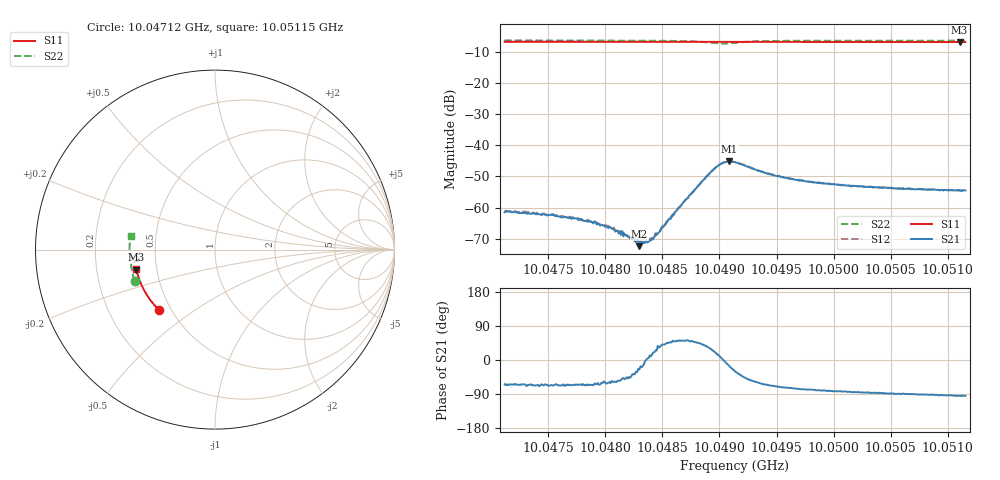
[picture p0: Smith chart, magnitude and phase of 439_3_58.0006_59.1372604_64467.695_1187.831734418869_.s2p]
#  HZ  S  RI  R  50.00
! Rohde & Schwarz Vector Network Analyzer
! Rohde-Schwarz,ZNB20-2Port,1311601062101988,3.16
! Created: UTC 3/21/2024, 1:09:59 AM
! freq[Hz]  re:S11  im:S11  re:S21  im:S21  re:S12  im:S12  re:S22  im:S22
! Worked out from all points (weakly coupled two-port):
!   401 points, 10.04712 GHz to 10.05115 GHz, reference 50 ohm
!   highest |S21| = -45.22 dB at 10.04909 GHz (marker M1); lowest = -72.4 dB at 10.0483 GHz (marker M2)
!   lowest |S11| = -6.9 dB at 10.0511 GHz (marker M3), VSWR 2.65, Z = 19.1 - j5.38 ohm
!   |S11| at or under -10 dB: nowhere
!   |S22| runs from -7.4 to -6.4 dB; largest |S21 - S12| = 0.0004
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1.0047118e10  -0.3115 -0.3374  0.00037 -0.000752  0.000434 -0.000788  -0.4473 -0.1728
1.0047551e10  -0.3315 -0.3166  0.000299 -0.000682  0.000364 -0.000667  -0.4564 -0.1446
1.0047794e10  -0.3419 -0.3045  0.00026 -0.000593  0.000298 -0.000546  -0.4606 -0.1283
1.0047834e10  -0.3435 -0.3024  0.000238 -0.000562  0.000294 -0.00055  -0.4612 -0.1255
1.0048036e10  -0.3518 -0.292  0.000255 -0.000418  0.00027 -0.000403  -0.464 -0.1111
1.0048167e10  -0.357 -0.2853  0.000241 -0.000294  0.000261 -0.000271  -0.4658 -0.1015
1.0048268e10  -0.3611 -0.2798  0.000237 -0.000143  0.000276 -0.000141  -0.4665 -0.0939
1.0048278e10  -0.3616 -0.2794  0.000262 -0.000162  0.000256 -0.000142  -0.4666 -0.0932
1.0048298e10  -0.3621 -0.2783  0.000218 -0.000101  0.000282 -8.53e-05  -0.4667 -0.0915
1.0048328e10  -0.3635 -0.2767  0.000275 -7.79e-05  0.000278 -3.71e-05  -0.4671 -0.0891
1.0048389e10  -0.3657 -0.2735  0.000293 6.3e-05  0.00031 7.24e-05  -0.4674 -0.0843
1.004847e10  -0.3688 -0.2689  0.000338 0.000219  0.000346 0.000251  -0.4673 -0.0772
1.0048692e10  -0.3768 -0.2567  0.000797 0.000962  0.000745 0.00103  -0.464 -0.0564
1.0048934e10  -0.3847 -0.2431  0.00345 0.00175  0.00334 0.00198  -0.4388 -0.037
1.0049015e10  -0.3875 -0.2387  0.00503 0.000496  0.005 0.000841  -0.4257 -0.046
1.0049085e10  -0.3897 -0.2348  0.00527 -0.00152  0.00537 -0.00117  -0.4265 -0.0609
1.0049136e10  -0.3912 -0.2322  0.00462 -0.00266  0.00484 -0.00233  -0.4342 -0.0679
1.0049479e10  -0.4021 -0.2123  0.00123 -0.00306  0.00137 -0.00303  -0.4694 -0.045
1.0049812e10  -0.4115 -0.1923  0.000506 -0.0025  0.000669 -0.00251  -0.4751 -0.0167
1.0050488e10  -0.4272 -0.1509  7.22e-05 -0.00207  0.000153 -0.00206  -0.4753 0.0323
1.0051104e10  -0.4379 -0.112  -0.000149 -0.00189  -4.19e-05 -0.00189  -0.4705 0.0738
1.0051154e10  -0.4388 -0.109  -0.000151 -0.00187  -5.59e-05 -0.00188  -0.4699 0.0772
